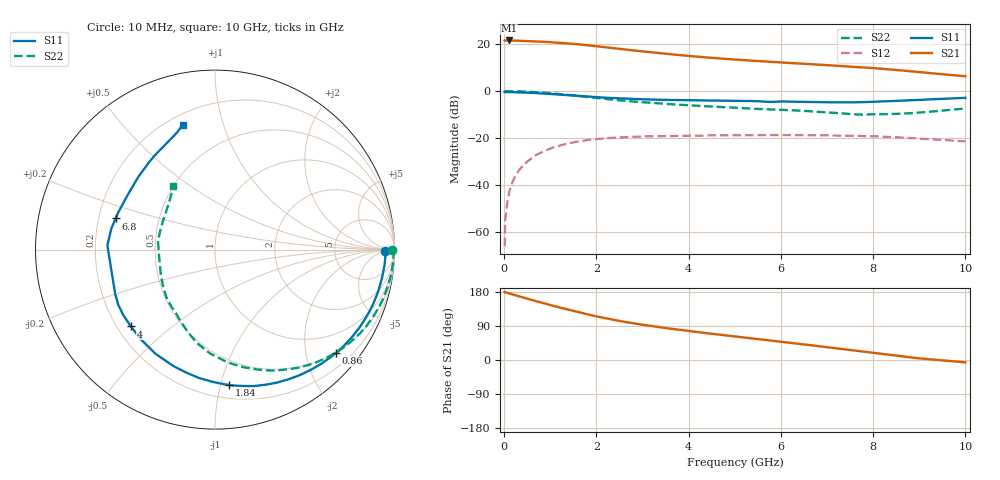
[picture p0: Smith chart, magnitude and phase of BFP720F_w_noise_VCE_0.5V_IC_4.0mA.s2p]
! Infineon Technologies  Discrete & RF Semiconductors
! BFP720F
! VCE =  0.5 V,  IC =  4.0 mA
! Common Emitter S-Parameters:  Jan 2016
# GHz  S  MA  R  50
!  f  S11  S21  S12  S22
! GHz  MAG  ANG  MAG  ANG  MAG  ANG  MAG  ANG
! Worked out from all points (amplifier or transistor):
!   233 points, 10 MHz to 10 GHz, reference 50 ohm
!   highest |S21| = 21.5 dB at 100 MHz (marker M1)
!   |S21| within 3 dB of that: start of sweep to 2.251 GHz
!   unconditionally stable (mu >= 1): 8.649 GHz to end of sweep
!   at 200 MHz: K = 0.03, MSG = 29.7 dB, |S12| = -37.9 dB
!   at 1.74 GHz: K = 0.20, MSG = 20.3 dB, |S12| = -21.0 dB
!   at 10 GHz: K = 1.17, MAG = 11.4 dB, |S12| = -21.4 dB
!   lowest NFmin = 0.41 dB at 450 MHz
!   S11 on the Smith chart (normalised r, x): 10 MHz: 35, -4; 860 MHz: 0.49, -2.63; 1.84 GHz: 0.30, -1.06; 4 GHz: 0.26, -0.37; 6.8 GHz: 0.27, +0.14; 10 GHz: 0.26, +0.74
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0.01  0.9452 -0.4  11.9 179.8  0.0005 -36.1  0.9885 -0.2
0.015  0.9486 -0.7  11.81 178.9  0.0006 65.6  0.993 -0.8
0.02  0.952 -0.9  11.72 178.0  0.0014 86.1  0.9977 -1.4
0.03  0.9511 -1.4  11.78 178.0  0.002 88.7  0.9968 -1.6
0.05  0.9496 -2.4  11.89 178.0  0.0031 91.1  0.9949 -1.9
0.1  0.949 -4.7  11.91 176.0  0.0063 87.4  0.9953 -3.7
0.4  0.932 -18.9  11.67 165.2  0.0254 77.7  0.9773 -15.2
0.86  0.8859 -40.5  11.18 149.7  0.0521 63.6  0.9232 -32.1
1  0.8693 -47.0  10.96 145.0  0.0599 59.2  0.8992 -37.6
1.28  0.8324 -59.7  10.47 136.1  0.0725 51.3  0.848 -47.3
1.68  0.7783 -77.5  9.725 123.9  0.0869 40.7  0.768 -60.8
1.84  0.7581 -84.0  9.357 119.4  0.0914 36.9  0.739 -65.6
2.2  0.7206 -97.2  8.552 110.1  0.099 29.0  0.6775 -75.8
2.6  0.6893 -109.5  7.693 100.9  0.1043 21.5  0.6217 -85.2
3  0.6683 -119.8  6.968 93.0  0.1079 15.5  0.5781 -92.9
3.4  0.6508 -127.7  6.334 86.1  0.1099 10.3  0.5417 -98.7
4  0.6345 -137.6  5.574 76.4  0.1121 3.5  0.4967 -106.0
5.1  0.6176 -151.4  4.604 60.9  0.1148 -7.1  0.436 -117.0
6.8  0.5799 162.6  3.645 36.8  0.1143 -22.8  0.3621 -141.4
8.4  0.6111 126.6  2.862 12.8  0.1049 -38.1  0.3241 158.6
9  0.6481 115.0  2.525 4.3  0.0971 -42.9  0.348 140.7
10  0.7158 104.6  2.06 -6.2  0.085 -47.3  0.4261 123.1
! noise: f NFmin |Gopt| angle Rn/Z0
0.45  0.41  0.54  3  0.21
0.9  0.44  0.54  10  0.19
1.8  0.49  0.5  21  0.17
2.4  0.53  0.48  29  0.15
5.5  0.73  0.4  74  0.1
10  1.03  0.26  -115  0.14
